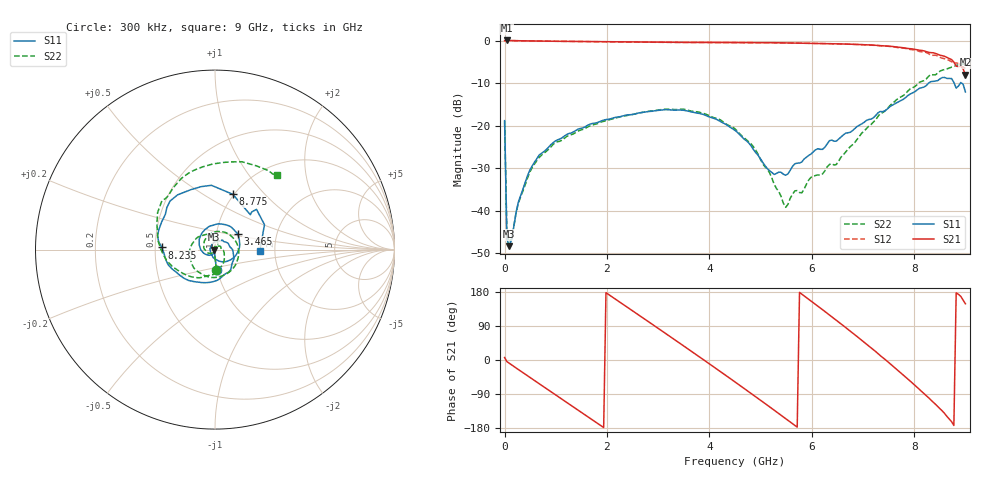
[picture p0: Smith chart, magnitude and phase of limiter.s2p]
# Hz S DB R 50
! CMT, SC5090, 24087134, 25.3.3/4
! Date: 29.11.2025 13:43:38
! Data: Format (Calibration Info)
! Freq	S11:dB/Ang(F2)	S21:dB/Ang(F2)	S12:dB/Ang(F2)	S22:dB/Ang(F2)
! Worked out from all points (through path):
!   201 points, 300 kHz to 9 GHz, reference 50 ohm
!   highest |S21| = 0.06 dB at 45.3 MHz (marker M1); lowest = -8.0 dB at 9 GHz (marker M2)
!   group delay of S21, straight-line fit = 276 ps
!   lowest |S11| = -48.3 dB at 90.3 MHz (marker M3), VSWR 1.01, Z = 49.6 - j0.128 ohm
!   |S11| at or under -10 dB: start of sweep to 8.278 GHz; 8.782 GHz to 8.901 GHz (119.7 MHz wide, 1.35 % of centre); 8.929 GHz to end of sweep
!   |S22| runs from -47.3 to -5.4 dB; largest |S21 - S12| = 0.18
!   S11 on the Smith chart (normalised r, x): 300 kHz: 0.99, -0.23; 3.465 GHz: 1.26, +0.22; 8.235 GHz: 0.54, +0.01; 8.775 GHz: 0.99, +0.68; 9 GHz: 1.67, -0.03
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300000  -18.82 -85.8  0.02 6.5  -0.02 6.3  -18.97 -86.1
4.52985e7  -46.64 -172.8  0.06 -4.3  0.04 -4.4  -45.38 -179.3
9.0297e7  -48.34 -160.3  0.04 -8.5  0.03 -8.6  -47.31 -169.5
4.50285e8  -31.69 -113.8  -0.04 -41.9  -0.05 -41.9  -32.21 -131.4
8.552715e8  -25.11 -150.2  -0.11 -79.1  -0.12 -79.1  -25.59 -173.3
1.530249e9  -20.50 158.4  -0.20 -141.1  -0.20 -141.1  -20.86 105.9
2.205226e9  -17.95 113.3  -0.29 156.9  -0.29 156.8  -18.09 21.1
3.0152e9  -16.37 63.9  -0.37 82.0  -0.38 82.0  -16.28 -80.4
3.465184e9  -16.34 34.7  -0.40 40.1  -0.41 40.1  -16.10 -134.8
3.960168e9  -17.76 -3.4  -0.41 -6.4  -0.42 -6.3  -17.45 170.2
4.50015e9  -21.09 -50.1  -0.42 -57.9  -0.43 -57.9  -20.73 113.1
4.995134e9  -27.72 -109.4  -0.45 -105.9  -0.46 -105.9  -27.88 68.4
5.490117e9  -31.65 152.9  -0.51 -154.7  -0.52 -154.6  -39.20 62.9
6.030099e9  -26.13 77.5  -0.61 151.1  -0.62 151.2  -31.94 71.6
6.750075e9  -21.54 11.9  -0.82 76.2  -0.84 76.2  -24.93 -24.2
7.155062e9  -18.45 -34.0  -1.01 32.3  -1.04 32.2  -19.74 -73.3
7.51505e9  -15.62 -81.2  -1.29 -8.1  -1.34 -8.4  -15.41 -114.3
7.875038e9  -12.92 -130.4  -1.83 -50.1  -1.93 -50.9  -11.85 -158.2
8.235026e9  -10.58 177.7  -2.56 -93.9  -2.77 -94.4  -9.02 156.1
8.550015e9  -8.67 132.9  -3.53 -134.6  -4.11 -134.8  -6.93 109.2
8.775008e9  -9.80 72.2  -5.03 -172.7  -5.17 -162.0  -6.09 79.9
9e9  -12.05 -1.7  -8.00 148.4  -6.52 169.5  -5.37 50.5
